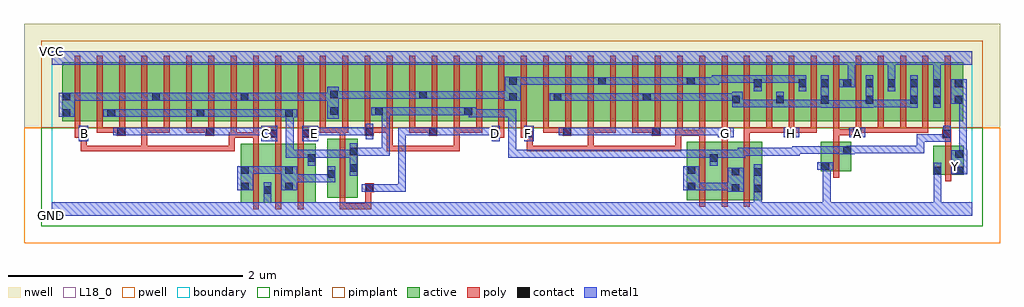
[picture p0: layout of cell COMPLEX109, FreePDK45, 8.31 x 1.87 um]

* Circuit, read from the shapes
.subckt COMPLEX109 A B C D E F G GND H VCC Y
M1 GND B n1 VSUBS nfet w=0.5u l=0.05u
M2 n1 C GND VSUBS nfet w=0.5u l=0.05u
M3 n2 E n1 VSUBS nfet w=0.5u l=0.05u
M4 n2 D n1 VSUBS nfet w=0.5u l=0.05u
M5 n2 F n3 VSUBS nfet w=0.5u l=0.05u
M6 n3 G n2 VSUBS nfet w=0.5u l=0.05u
M7 GND H n3 VSUBS nfet w=0.5u l=0.05u
M8 n2 A GND VSUBS nfet w=0.25u l=0.05u
M9 Y n2 GND VSUBS nfet w=0.25u l=0.05u
M10 n4 B n5 n6 pfet w=0.5u l=0.05u
M11 n2 C n4 n6 pfet w=0.5u l=0.05u
M12 n7 C n2 n6 pfet w=0.5u l=0.05u
M13 n5 B n7 n6 pfet w=0.5u l=0.05u
M14 n8 B n5 n6 pfet w=0.5u l=0.05u
M15 n2 C n8 n6 pfet w=0.5u l=0.05u
M16 n9 C n2 n6 pfet w=0.5u l=0.05u
M17 n5 B n9 n6 pfet w=0.5u l=0.05u
M18 n10 B n5 n6 pfet w=0.5u l=0.05u
M19 n2 C n10 n6 pfet w=0.5u l=0.05u
M20 n11 E n2 n6 pfet w=0.5u l=0.05u
M21 n5 D n11 n6 pfet w=0.5u l=0.05u
M22 n12 D n5 n6 pfet w=0.5u l=0.05u
M23 n2 E n12 n6 pfet w=0.5u l=0.05u
M24 n13 E n2 n6 pfet w=0.5u l=0.05u
M25 n5 D n13 n6 pfet w=0.5u l=0.05u
M26 n14 D n5 n6 pfet w=0.5u l=0.05u
M27 n2 E n14 n6 pfet w=0.5u l=0.05u
M28 n15 E n2 n6 pfet w=0.5u l=0.05u
M29 n5 D n15 n6 pfet w=0.5u l=0.05u
M30 n16 F n5 n6 pfet w=0.5u l=0.05u
M31 n17 G n16 n6 pfet w=0.5u l=0.05u
M32 n18 G n17 n6 pfet w=0.5u l=0.05u
M33 n5 F n18 n6 pfet w=0.5u l=0.05u
M34 n19 F n5 n6 pfet w=0.5u l=0.05u
M35 n17 G n19 n6 pfet w=0.5u l=0.05u
M36 n20 G n17 n6 pfet w=0.5u l=0.05u
M37 n5 F n20 n6 pfet w=0.5u l=0.05u
M38 n21 F n5 n6 pfet w=0.5u l=0.05u
M39 n17 G n21 n6 pfet w=0.5u l=0.05u
M40 n5 H n17 n6 pfet w=0.5u l=0.05u m=4
M41 VCC A n17 n6 pfet w=0.5u l=0.05u m=5
M42 Y n2 VCC n6 pfet w=0.5u l=0.05u
.ends

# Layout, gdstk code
import gdstk
lib = gdstk.Library(unit=1e-6, precision=1e-09)
def R(c, l, rs):  # rectangles x0, y0, x1, y1
    for r in rs: c.add(gdstk.rectangle(r[:2], r[2:], *l))
def A(c, l, x, y, w, h, nx, ny, dx, dy):  # array of equal rectangles
    R(c, l, [(x+i*dx, y+j*dy, x+i*dx+w, y+j*dy+h) for i in range(nx) for j in range(ny)])
active = (1, 0)
pwell = (2, 0)
nwell = (3, 0)
nimplant = (4, 0)
pimplant = (5, 0)
poly = (9, 0)
contact = (10, 0)
metal1 = (11, 0)
L18_0 = (18, 0)
boundary = (235, 0)

complex109 = lib.new_cell('COMPLEX109')
A(complex109, active, 0.09, 0.805, 0.225, 0.5, 4, 1, 0.38, 0)
A(complex109, active, 0.315, 0.805, 0.23, 0.5, 3, 1, 0.38, 0)
A(complex109, active, 3.355, 0.805, 0.23, 0.5, 5, 1, 0.38, 0)
A(complex109, active, 3.51, 0.805, 0.075, 0.265, 4, 1, 0.76, 0)
A(complex109, active, 3.51, 0.805, 0.225, 0.5, 5, 1, 0.38, 0)
A(complex109, active, 5.975, 0.805, 0.265, 0.5, 3, 1, 0.19, 0)
A(complex109, active, 6.545, 0.805, 0.075, 0.395, 4, 1, 0.38, 0)
R(complex109, active, [(1.61,0.112,1.875,0.612), (1.8,0.112,2.06,0.612), (1.985,0.112,2.25,0.612), (5.41,0.13,5.675,0.63), (5.6,0.13,5.862,0.63), (5.787,0.13,6.05,0.63), (5.975,0.13,6.05,0.63), (2.347,0.155,2.607,0.655), (1.8,0.157,1.875,0.592), (1.61,0.195,1.685,0.612), (1.985,0.195,2.06,0.592), (2.175,0.195,2.25,0.612), (2.347,0.195,2.422,0.655), (2.532,0.195,2.607,0.655), (5.41,0.195,5.485,0.63), (5.6,0.195,5.675,0.592), (5.787,0.195,5.862,0.592), (7.505,0.347,7.58,0.597), (7.505,0.347,7.765,0.597), (7.69,0.347,7.765,0.597), (6.55,0.38,6.625,0.63), (6.55,0.38,6.81,0.63), (6.735,0.38,6.81,0.63), (0.09,0.805,0.195,1.2), (0.47,0.805,0.545,1.07), (0.85,0.805,0.925,1.2), (1.455,0.805,1.68,1.305), (1.605,0.805,1.835,1.305), (1.835,0.805,2.06,1.305), (1.985,0.805,2.06,1.07), (1.985,0.805,2.215,1.305), (2.215,0.805,2.442,1.305), (2.367,0.805,2.442,1.2), (2.367,0.805,2.595,1.305), (2.595,0.805,2.825,1.305), (2.75,0.805,2.975,1.305), (2.975,0.805,3.2,1.305), (3.125,0.805,3.2,1.2), (3.125,0.805,3.355,1.305), (3.89,0.805,3.965,1.2), (4.65,0.805,4.725,1.2), (5.255,0.805,5.48,1.305), (5.405,0.805,5.48,1.2), (5.405,0.805,5.635,1.305), (5.635,0.805,5.865,1.305), (5.79,0.805,6.05,1.305), (5.975,0.805,6.05,1.2), (6.165,0.805,6.24,1.07), (6.355,0.805,6.43,1.2), (6.545,0.805,6.812,1.305), (6.737,0.805,6.812,1.305), (6.737,0.805,7,1.305), (6.925,0.805,7.19,1.305), (7.115,0.805,7.19,1.305), (7.115,0.805,7.38,1.305), (7.305,0.805,7.575,1.305), (7.5,0.805,7.575,1.305), (7.5,0.805,7.76,1.305), (1.23,0.807,1.305,1.07), (1.605,0.807,1.68,1.2), (2.75,0.807,2.825,1.07)])
R(complex109, pwell, [(-0.235,-0.235,8.075,0.75)])
R(complex109, nwell, [(-0.235,0.75,8.075,1.635)])
R(complex109, nimplant, [(-0.09,-0.09,7.93,0.75)])
R(complex109, pimplant, [(-0.09,0.75,7.93,1.49)])
A(complex109, poly, 1.715, 0.057, 0.05, 0.61, 3, 1, 0.19, 0)
A(complex109, poly, 5.515, 0.075, 0.05, 0.61, 3, 1, 0.19, 0)
A(complex109, poly, 1.715, 0.617, 0.05, 0.095, 3, 1, 0.19, 0)
A(complex109, poly, 5.702, 0.68, 0.075, 0.075, 3, 1, 0.56, 0)
A(complex109, poly, 0.385, 0.705, 0.05, 0.095, 6, 1, 0.19, 0)
A(complex109, poly, 0.765, 0.705, 0.05, 0.05, 3, 1, 0.19, 0)
A(complex109, poly, 2.285, 0.705, 0.05, 0.095, 8, 1, 0.19, 0)
A(complex109, poly, 4.185, 0.705, 0.05, 0.095, 6, 1, 0.19, 0)
A(complex109, poly, 5.705, 0.705, 0.05, 0.095, 5, 1, 0.19, 0)
A(complex109, poly, 6.845, 0.705, 0.05, 0.095, 4, 1, 0.19, 0)
A(complex109, poly, 0.195, 0.75, 0.05, 0.61, 40, 1, 0.19, 0)
R(complex109, poly, [(2.452,0.055,2.502,0.15), (2.452,0.055,2.502,0.105), (2.452,0.055,2.502,0.105), (2.452,0.055,2.502,0.105), (2.452,0.055,2.72,0.105), (2.67,0.055,2.72,0.105), (2.67,0.055,2.72,0.105), (2.67,0.055,2.72,0.105), (2.67,0.055,2.72,0.25), (2.452,0.1,2.502,0.71), (2.67,0.2,2.745,0.275), (7.61,0.292,7.66,0.652), (6.655,0.325,6.705,0.685), (0.25,0.547,0.3,0.597), (0.25,0.547,0.3,0.597), (0.25,0.547,0.3,0.597), (0.25,0.547,0.3,0.597), (0.25,0.547,0.3,0.597), (0.25,0.547,0.3,0.712), (0.25,0.547,0.472,0.597), (0.422,0.547,0.472,0.597), (0.422,0.547,0.472,0.597), (0.422,0.547,0.472,0.597), (0.422,0.547,0.682,0.597), (0.632,0.547,0.682,0.597), (0.632,0.547,0.682,0.597), (0.632,0.547,0.682,0.597), (0.632,0.547,0.815,0.597), (0.765,0.547,0.815,0.597), (0.765,0.547,0.815,0.597), (0.765,0.547,0.815,0.597), (0.765,0.547,0.815,0.755), (0.765,0.547,1.062,0.597), (1.012,0.547,1.062,0.597), (1.012,0.547,1.062,0.597), (1.012,0.547,1.062,0.597), (1.012,0.547,1.195,0.597), (1.145,0.547,1.195,0.597), (1.145,0.547,1.195,0.597), (1.145,0.547,1.195,0.597), (1.145,0.547,1.427,0.597), (1.377,0.547,1.427,0.597), (1.377,0.547,1.427,0.597), (1.377,0.547,1.427,0.597), (1.377,0.547,1.56,0.597), (1.51,0.547,1.56,0.597), (1.51,0.547,1.56,0.712), (2.855,0.547,2.905,0.597), (2.855,0.547,2.905,0.597), (2.855,0.547,2.905,0.597), (2.855,0.547,2.905,0.597), (2.855,0.547,2.91,0.597), (2.855,0.547,2.905,0.755), (2.86,0.547,3.095,0.597), (3.045,0.547,3.095,0.597), (3.045,0.547,3.202,0.597), (3.152,0.547,3.202,0.597), (3.152,0.547,3.31,0.597), (3.26,0.547,3.31,0.597), (3.26,0.547,3.475,0.597), (3.425,0.547,3.475,0.597), (3.425,0.547,3.475,0.597), (3.425,0.547,3.475,0.597), (3.425,0.547,3.475,0.597), (3.425,0.547,3.475,0.597), (3.425,0.547,3.475,0.755), (4.045,0.547,4.095,0.597), (4.045,0.547,4.095,0.597), (4.045,0.547,4.095,0.597), (4.045,0.547,4.23,0.597), (4.045,0.547,4.095,0.712), (4.18,0.547,4.23,0.597), (4.18,0.547,4.23,0.597), (4.18,0.547,4.23,0.597), (4.18,0.547,4.43,0.597), (4.38,0.547,4.43,0.597), (4.38,0.547,4.43,0.597), (4.38,0.547,4.465,0.597), (4.415,0.547,4.615,0.597), (4.565,0.547,4.615,0.597), (4.565,0.547,4.615,0.597), (4.565,0.547,4.615,0.597), (4.565,0.547,4.615,0.597), (4.565,0.547,4.62,0.597), (4.565,0.547,4.615,0.755), (4.57,0.547,4.777,0.597), (4.727,0.547,4.777,0.597), (4.727,0.547,4.777,0.597), (4.727,0.547,4.777,0.597), (4.727,0.547,5.015,0.597), (4.965,0.547,5.015,0.597), (4.965,0.547,5.015,0.597), (4.965,0.547,5.015,0.597), (4.965,0.547,5.147,0.597), (5.097,0.547,5.147,0.597), (5.097,0.547,5.36,0.597), (5.31,0.547,5.36,0.597), (5.31,0.547,5.36,0.597), (5.31,0.547,5.36,0.597), (5.31,0.547,5.36,0.597), (5.31,0.547,5.36,0.597), (5.31,0.547,5.36,0.73), (7.61,0.602,7.66,0.71), (5.515,0.635,5.565,0.73), (5.705,0.635,5.755,0.73), (5.895,0.635,5.945,0.755), (6.655,0.635,6.705,0.735), (2.452,0.66,2.502,0.755), (7.585,0.66,7.66,0.735), (0.195,0.662,0.3,0.737), (1.51,0.662,1.56,0.712), (1.51,0.662,1.56,0.712), (1.51,0.662,1.575,0.712), (1.525,0.662,1.575,0.712), (1.525,0.662,1.575,0.8), (1.525,0.662,1.585,0.712), (1.535,0.662,1.765,0.712), (1.715,0.662,1.765,0.712), (1.715,0.662,1.765,0.8), (1.85,0.662,1.955,0.737), (2.095,0.662,2.202,0.737), (3.747,0.662,3.855,0.737), (3.995,0.662,4.095,0.737), (4.045,0.662,4.095,0.712), (4.045,0.662,4.095,0.712), (0.555,0.68,0.63,0.755), (1.31,0.68,1.385,0.755), (2.665,0.68,2.745,0.755), (3.21,0.68,3.285,0.755), (4.35,0.68,4.425,0.755), (5.11,0.68,5.185,0.755), (5.31,0.68,5.375,0.73), (5.325,0.68,5.565,0.73), (5.325,0.68,5.375,0.8), (5.515,0.68,5.565,0.73), (5.515,0.68,5.565,0.73), (5.515,0.68,5.565,0.73), (5.515,0.68,5.565,0.8), (6.655,0.685,6.705,0.8), (6.655,0.685,6.705,0.735), (6.655,0.685,6.705,0.735), (6.655,0.685,6.705,0.735), (6.655,0.685,6.872,0.735), (7.605,0.685,7.655,0.8), (0.195,0.687,0.245,0.8), (1.905,0.687,1.955,0.8), (2.095,0.687,2.145,0.8), (3.805,0.687,3.855,0.8), (3.995,0.687,4.045,0.8), (0.385,0.705,0.435,0.755), (0.385,0.705,0.435,0.755), (0.385,0.705,0.435,0.755), (0.385,0.705,0.605,0.755), (0.765,0.705,0.815,0.755), (0.765,0.705,0.815,0.755), (0.765,0.705,0.815,0.755), (0.765,0.705,0.815,0.755), (0.765,0.705,1.005,0.755), (1.145,0.705,1.195,0.755), (1.145,0.705,1.195,0.755), (1.145,0.705,1.36,0.755), (2.285,0.705,2.335,0.755), (2.285,0.705,2.335,0.755), (2.285,0.705,2.335,0.755), (2.285,0.705,2.502,0.755), (2.452,0.705,2.525,0.755), (2.695,0.705,2.745,0.755), (2.695,0.705,2.745,0.755), (2.695,0.705,2.905,0.755), (2.855,0.705,2.905,0.755), (3.045,0.705,3.095,0.755), (3.045,0.705,3.155,0.755), (3.105,0.705,3.155,0.755), (3.105,0.705,3.26,0.755), (3.425,0.705,3.475,0.755), (3.425,0.705,3.665,0.755), (3.615,0.705,3.665,0.755), (3.615,0.705,3.665,0.755), (3.615,0.705,3.665,0.755), (4.185,0.705,4.26,0.755), (4.21,0.705,4.26,0.755), (4.21,0.705,4.26,0.755), (4.21,0.705,4.4,0.755), (4.565,0.705,4.645,0.755), (4.595,0.705,4.645,0.755), (4.595,0.705,4.645,0.755), (4.595,0.705,4.805,0.755), (4.755,0.705,4.805,0.755), (4.945,0.705,4.995,0.755), (4.945,0.705,5.16,0.755), (5.11,0.705,5.16,0.755), (5.11,0.705,5.16,0.755), (5.895,0.705,5.945,0.755), (5.895,0.705,6.135,0.755), (6.085,0.705,6.135,0.755), (6.085,0.705,6.135,0.755), (6.085,0.705,6.135,0.755), (6.085,0.705,6.312,0.755), (6.262,0.705,6.312,0.755), (6.262,0.705,6.312,0.755), (6.287,0.705,6.515,0.755), (6.465,0.705,6.515,0.755), (6.465,0.705,6.515,0.755), (6.465,0.705,6.515,0.755), (6.847,0.705,7.082,0.755), (7.032,0.705,7.082,0.755), (7.032,0.705,7.082,0.755), (7.032,0.705,7.085,0.755), (7.035,0.705,7.275,0.755), (7.225,0.705,7.275,0.755), (7.225,0.705,7.275,0.755), (7.225,0.705,7.275,0.755), (7.225,0.705,7.465,0.755), (7.415,0.705,7.465,0.755), (7.415,0.705,7.465,0.755), (7.415,0.705,7.465,0.755)])
A(complex109, contact, 5.707, 0.685, 0.065, 0.065, 3, 1, 0.56, 0)
A(complex109, contact, 6.55, 0.955, 0.065, 0.065, 3, 1, 0.38, 0)
A(complex109, contact, 6.93, 1.095, 0.065, 0.065, 3, 1, 0.19, 0)
R(complex109, contact, [(1.805,0.185,1.87,0.25), (5.98,0.2,6.045,0.265), (2.675,0.205,2.74,0.27), (5.792,0.205,5.857,0.27), (1.615,0.217,1.68,0.282), (1.99,0.217,2.055,0.282), (5.415,0.217,5.48,0.282), (2.352,0.322,2.417,0.387), (5.98,0.34,6.045,0.405), (5.792,0.345,5.857,0.41), (7.51,0.352,7.575,0.417), (7.695,0.352,7.76,0.417), (1.615,0.357,1.68,0.422), (1.99,0.357,2.055,0.422), (5.415,0.357,5.48,0.422), (2.537,0.375,2.602,0.44), (6.555,0.39,6.62,0.455), (2.18,0.46,2.245,0.525), (5.605,0.46,5.67,0.525), (7.695,0.492,7.76,0.557), (2.537,0.515,2.602,0.58), (6.74,0.522,6.805,0.587), (7.59,0.665,7.655,0.73), (0.23,0.667,0.295,0.732), (1.855,0.667,1.92,0.732), (2.132,0.667,2.197,0.732), (3.752,0.667,3.817,0.732), (4.025,0.667,4.09,0.732), (0.56,0.685,0.625,0.75), (1.315,0.685,1.38,0.75), (2.675,0.685,2.74,0.75), (3.215,0.685,3.28,0.75), (4.355,0.685,4.42,0.75), (5.115,0.685,5.18,0.75), (0.095,0.842,0.16,0.907), (0.475,0.842,0.54,0.907), (1.235,0.842,1.3,0.907), (1.99,0.842,2.055,0.907), (2.755,0.857,2.82,0.922), (3.515,0.857,3.58,0.922), (2.372,0.86,2.437,0.925), (7.505,0.955,7.57,1.02), (7.69,0.955,7.755,1.02), (5.795,0.957,5.86,1.022), (6.17,0.957,6.235,1.022), (3.895,0.977,3.96,1.042), (4.275,0.977,4.34,1.042), (5.035,0.977,5.1,1.042), (0.855,0.98,0.92,1.045), (1.61,0.98,1.675,1.045), (0.095,0.982,0.16,1.047), (3.13,0.995,3.195,1.06), (2.372,1,2.437,1.065), (5.98,1.095,6.045,1.16), (6.36,1.095,6.425,1.16), (6.55,1.095,6.615,1.16), (6.742,1.095,6.807,1.16), (7.505,1.095,7.57,1.16), (7.69,1.095,7.755,1.16), (4.655,1.115,4.72,1.18), (5.41,1.115,5.475,1.18), (3.895,1.117,3.96,1.182)])
A(complex109, metal1, 5.672, 0.667, 0.135, 0.083, 3, 1, 0.56, 0)
A(complex109, metal1, 6.55, 0.92, 0.065, 0.275, 3, 1, 0.38, 0)
R(complex109, metal1, [(0,0,7.84,0.115), (1.805,0.05,1.87,0.115), (1.805,0.05,1.87,0.115), (1.805,0.05,1.87,0.215), (5.98,0.05,6.045,0.115), (5.98,0.05,6.045,0.115), (5.98,0.05,6.045,0.23), (6.567,0.05,6.632,0.422), (7.51,0.05,7.575,0.382), (1.805,0.15,1.87,0.285), (5.98,0.165,6.045,0.44), (2.64,0.205,2.775,0.27), (2.71,0.205,2.775,0.27), (2.71,0.205,2.775,0.27), (2.71,0.205,2.912,0.27), (2.847,0.205,2.912,0.27), (2.847,0.205,3.015,0.27), (2.95,0.205,3.015,0.27), (2.95,0.205,3.015,0.75), (5.757,0.205,5.892,0.41), (1.58,0.217,1.715,0.422), (1.955,0.217,2.09,0.422), (5.38,0.217,5.515,0.422), (5.45,0.217,5.565,0.282), (5.5,0.217,5.565,0.282), (5.5,0.217,5.685,0.282), (5.62,0.217,5.685,0.282), (5.62,0.217,5.747,0.282), (5.682,0.217,5.747,0.282), (5.682,0.217,5.822,0.282), (2.025,0.287,2.09,0.352), (2.025,0.287,2.09,0.352), (2.025,0.287,2.227,0.352), (2.162,0.287,2.227,0.352), (2.162,0.287,2.417,0.352), (2.352,0.287,2.417,0.352), (2.352,0.287,2.417,0.352), (2.352,0.287,2.417,0.422), (7.51,0.317,7.575,0.382), (7.51,0.317,7.575,0.382), (7.51,0.317,7.575,0.382), (7.51,0.317,7.575,0.382), (7.51,0.317,7.575,0.382), (7.51,0.317,7.575,0.382), (7.51,0.317,7.575,0.452), (2.537,0.34,2.602,0.615), (7.66,0.352,7.795,0.557), (1.65,0.357,1.715,0.422), (1.65,0.357,1.715,0.422), (1.65,0.357,1.882,0.422), (1.817,0.357,1.882,0.422), (1.817,0.357,1.882,0.422), (1.817,0.357,1.882,0.422), (1.817,0.357,2.02,0.422), (6.567,0.357,6.632,0.422), (6.567,0.357,6.632,0.422), (6.567,0.357,6.632,0.422), (6.567,0.357,6.632,0.422), (6.567,0.357,6.632,0.455), (6.52,0.39,6.655,0.455), (6.567,0.39,6.632,0.455), (2.18,0.425,2.245,0.56), (5.605,0.425,5.67,0.56), (7.727,0.492,7.792,0.747), (1.995,0.495,2.06,0.56), (1.995,0.495,2.06,0.56), (1.995,0.495,2.06,0.56), (1.995,0.495,2.06,0.905), (1.995,0.495,2.245,0.56), (2.18,0.495,2.245,0.56), (2.18,0.495,2.245,0.56), (2.18,0.495,2.42,0.56), (2.355,0.495,2.42,0.56), (2.355,0.495,2.42,0.56), (2.355,0.495,2.42,0.56), (2.355,0.495,2.557,0.56), (2.492,0.495,2.557,0.56), (2.492,0.495,2.602,0.56), (3.89,0.495,3.955,0.56), (3.89,0.495,3.955,0.56), (3.89,0.495,3.955,0.56), (3.89,0.495,3.955,0.56), (3.89,0.495,3.955,0.56), (3.89,0.495,4.167,0.56), (3.89,0.495,3.955,0.905), (4.102,0.495,4.167,0.56), (4.102,0.495,4.167,0.56), (4.102,0.495,4.167,0.56), (4.102,0.495,4.375,0.56), (4.31,0.495,4.375,0.56), (4.31,0.495,4.375,0.56), (4.31,0.495,4.375,0.56), (4.31,0.495,4.512,0.56), (4.447,0.495,4.512,0.56), (4.447,0.495,4.652,0.56), (4.587,0.495,4.652,0.56), (4.587,0.495,4.79,0.56), (4.725,0.495,4.79,0.56), (4.725,0.495,4.79,0.56), (4.725,0.495,4.79,0.56), (4.725,0.495,4.927,0.56), (4.862,0.495,4.927,0.56), (4.862,0.495,4.927,0.56), (4.862,0.495,4.927,0.56), (4.862,0.495,5.145,0.56), (5.08,0.495,5.145,0.56), (5.08,0.495,5.145,0.56), (5.08,0.495,5.145,0.56), (5.08,0.495,5.282,0.56), (5.217,0.495,5.282,0.56), (5.217,0.495,5.425,0.56), (5.36,0.495,5.425,0.56), (5.36,0.495,5.425,0.56), (5.36,0.495,5.425,0.56), (5.36,0.495,5.565,0.56), (5.5,0.495,5.565,0.56), (5.5,0.495,5.67,0.56), (5.605,0.495,5.702,0.56), (5.637,0.495,5.702,0.56), (5.637,0.495,5.907,0.56), (5.842,0.495,5.907,0.577), (2.537,0.512,2.705,0.577), (2.64,0.512,2.705,0.577), (2.64,0.512,2.877,0.577), (2.812,0.512,2.877,0.577), (2.812,0.512,2.877,0.577), (2.812,0.512,2.877,0.577), (2.812,0.512,2.877,0.922), (5.842,0.512,5.907,0.577), (5.842,0.512,5.907,0.577), (5.842,0.512,6.045,0.577), (5.98,0.512,6.045,0.577), (5.98,0.512,6.045,0.577), (5.98,0.512,6.045,0.577), (5.98,0.512,6.235,0.577), (6.17,0.512,6.235,0.577), (6.17,0.512,6.235,0.577), (6.17,0.512,6.235,0.577), (6.17,0.512,6.372,0.577), (6.307,0.512,6.372,0.592), (6.705,0.522,6.84,0.592), (6.307,0.527,6.562,0.592), (6.497,0.527,6.562,0.592), (6.497,0.527,6.562,0.592), (6.497,0.527,6.562,0.592), (6.497,0.527,6.7,0.592), (6.635,0.527,6.7,0.592), (6.635,0.527,6.77,0.592), (6.772,0.527,6.837,0.592), (6.772,0.527,6.84,0.595), (6.775,0.53,6.995,0.595), (6.93,0.53,6.995,0.595), (6.93,0.53,6.995,0.595), (6.93,0.53,6.995,0.595), (6.93,0.53,7.132,0.595), (7.067,0.53,7.132,0.595), (7.067,0.53,7.27,0.595), (7.205,0.53,7.27,0.595), (7.205,0.53,7.27,0.595), (7.205,0.53,7.27,0.595), (7.205,0.53,7.432,0.595), (7.367,0.53,7.432,0.595), (7.367,0.53,7.432,0.595), (7.367,0.53,7.432,0.595), (7.367,0.53,7.432,0.695), (7.367,0.63,7.432,0.695), (7.367,0.63,7.655,0.695), (7.59,0.63,7.655,0.765), (0.23,0.632,0.312,0.767), (1.787,0.632,1.92,0.767), (2.132,0.632,2.272,0.767), (3.747,0.632,3.817,0.767), (4.025,0.632,4.105,0.767), (2.675,0.65,2.74,0.785), (7.727,0.682,7.792,1.02), (7.727,0.682,7.792,0.747), (7.727,0.682,7.792,0.747), (7.727,0.682,7.792,0.747), (0.525,0.685,0.66,0.75), (0.595,0.685,0.715,0.75), (0.65,0.685,0.715,0.75), (0.65,0.685,0.852,0.75), (0.787,0.685,0.852,0.75), (0.787,0.685,0.852,0.75), (0.787,0.685,0.852,0.75), (0.787,0.685,0.99,0.75), (0.925,0.685,0.99,0.75), (0.925,0.685,1.127,0.75), (1.062,0.685,1.127,0.75), (1.062,0.685,1.127,0.75), (1.062,0.685,1.127,0.75), (1.062,0.685,1.345,0.75), (1.28,0.685,1.345,0.75), (1.28,0.685,1.345,0.75), (1.28,0.685,1.415,0.75), (1.35,0.685,1.482,0.75), (1.417,0.685,1.482,0.75), (1.417,0.685,1.552,0.75), (1.487,0.685,1.552,0.75), (1.487,0.685,1.715,0.75), (1.65,0.685,1.715,0.75), (1.65,0.685,1.715,0.75), (1.65,0.685,1.715,0.75), (1.65,0.685,1.852,0.75), (1.787,0.685,1.852,0.75), (1.787,0.685,1.852,0.75), (2.207,0.685,2.272,0.75), (2.207,0.685,2.272,0.75), (2.207,0.685,2.41,0.75), (2.345,0.685,2.41,0.75), (2.345,0.685,2.41,0.75), (2.345,0.685,2.41,0.752), (2.95,0.685,3.015,0.75), (2.95,0.685,3.08,0.75), (3.015,0.685,3.08,0.75), (3.015,0.685,3.24,0.75), (3.175,0.685,3.24,0.75), (3.175,0.685,3.24,0.75), (3.175,0.685,3.24,0.75), (3.175,0.685,3.24,0.75), (3.175,0.685,3.24,0.75), (3.175,0.685,3.24,0.75), (3.175,0.685,3.315,0.75), (3.25,0.685,3.407,0.75), (3.342,0.685,3.407,0.75), (3.342,0.685,3.477,0.75), (3.412,0.685,3.477,0.75), (3.412,0.685,3.615,0.75), (3.55,0.685,3.615,0.75), (3.55,0.685,3.615,0.75), (3.55,0.685,3.615,0.75), (3.55,0.685,3.787,0.75), (3.722,0.685,3.787,0.75), (3.722,0.685,3.812,0.75), (4.32,0.685,4.455,0.75), (4.39,0.685,4.515,0.75), (4.45,0.685,4.515,0.75), (4.45,0.685,4.652,0.75), (4.587,0.685,4.652,0.75), (4.587,0.685,4.652,0.75), (4.587,0.685,4.652,0.75), (4.587,0.685,4.79,0.75), (4.725,0.685,4.79,0.75), (4.725,0.685,4.927,0.75), (4.862,0.685,4.927,0.75), (4.862,0.685,4.927,0.75), (4.862,0.685,4.927,0.75), (4.862,0.685,5.145,0.75), (5.08,0.685,5.145,0.75), (5.08,0.685,5.145,0.75), (5.08,0.685,5.215,0.75), (5.15,0.685,5.287,0.75), (5.222,0.685,5.287,0.75), (5.222,0.685,5.427,0.75), (5.362,0.685,5.427,0.75), (5.362,0.685,5.427,0.75), (5.362,0.685,5.427,0.75), (5.362,0.685,5.565,0.75), (5.5,0.685,5.565,0.75), (5.5,0.685,5.652,0.75), (5.587,0.685,5.652,0.75), (5.587,0.685,5.737,0.75), (2.345,0.687,2.557,0.752), (2.492,0.687,2.557,0.752), (2.492,0.687,2.637,0.752), (2.572,0.687,2.637,0.752), (2.572,0.687,2.74,0.752), (2.345,0.825,2.447,1.1), (1.955,0.84,2.09,0.907), (1.995,0.84,2.06,0.905), (1.995,0.84,2.06,0.905), (3.55,0.84,3.752,0.905), (3.55,0.84,3.615,0.922), (3.687,0.84,3.752,0.905), (3.687,0.84,3.752,0.905), (3.687,0.84,3.752,0.905), (3.687,0.84,3.955,0.905), (3.89,0.84,3.955,0.905), (0.06,0.842,0.195,1.047), (0.44,0.842,0.575,0.907), (0.51,0.842,0.575,0.907), (0.51,0.842,0.575,0.907), (0.51,0.842,0.712,0.907), (0.647,0.842,0.712,0.907), (0.647,0.842,0.852,0.907), (0.787,0.842,0.852,0.907), (0.787,0.842,0.852,0.907), (0.787,0.842,0.852,0.907), (0.787,0.842,0.99,0.907), (0.925,0.842,0.99,0.907), (0.925,0.842,1.127,0.907), (1.062,0.842,1.127,0.907), (1.062,0.842,1.127,0.907), (1.062,0.842,1.127,0.907), (1.062,0.842,1.265,0.907), (1.2,0.842,1.335,0.907), (1.27,0.842,1.335,0.907), (1.27,0.842,1.335,0.907), (1.27,0.842,1.502,0.907), (1.437,0.842,1.502,0.907), (1.437,0.842,1.572,0.907), (1.507,0.842,1.572,0.907), (1.507,0.842,1.715,0.907), (1.65,0.842,1.715,0.907), (1.65,0.842,1.715,0.907), (1.65,0.842,1.715,0.907), (1.65,0.842,1.852,0.907), (1.787,0.842,1.852,0.907), (1.787,0.842,1.852,0.907), (1.787,0.842,1.852,0.907), (1.787,0.842,2.02,0.907), (2.72,0.857,2.877,0.922), (2.812,0.857,2.912,0.922), (2.847,0.857,2.912,0.922), (2.847,0.857,3.015,0.922), (2.95,0.857,3.015,0.922), (2.95,0.857,3.08,0.922), (3.015,0.857,3.08,0.922), (3.015,0.857,3.24,0.922), (3.175,0.857,3.24,0.922), (3.175,0.857,3.24,0.922), (3.175,0.857,3.24,0.922), (3.175,0.857,3.377,0.922), (3.312,0.857,3.377,0.922), (3.312,0.857,3.477,0.922), (3.412,0.857,3.477,0.922), (3.412,0.857,3.545,0.922), (3.48,0.857,3.615,0.922), (3.55,0.857,3.615,0.922), (6.55,0.92,6.7,0.985), (6.635,0.92,6.7,0.985), (6.635,0.92,6.857,0.985), (6.792,0.92,6.857,0.985), (6.792,0.92,6.857,0.985), (6.792,0.92,6.857,0.985), (6.792,0.92,6.995,0.985), (7.505,0.92,7.57,1.195), (5.795,0.922,5.885,1.057), (5.82,0.922,5.885,1.02), (5.82,0.922,6.045,0.987), (5.98,0.922,6.045,0.987), (5.98,0.922,6.045,0.987), (5.98,0.922,6.045,0.987), (5.98,0.922,6.235,0.987), (6.17,0.922,6.235,0.987), (6.17,0.922,6.235,0.987), (6.17,0.922,6.235,1.057), (6.17,0.922,6.425,0.987), (6.36,0.922,6.425,0.987), (6.36,0.922,6.562,0.987), (6.497,0.922,6.562,0.987), (6.497,0.922,6.615,0.987), (6.93,0.922,6.995,0.987), (6.93,0.922,6.995,0.987), (6.93,0.922,7.132,0.987), (7.067,0.922,7.132,0.987), (7.067,0.922,7.132,0.987), (7.067,0.922,7.132,0.987), (7.067,0.922,7.375,0.987), (5.82,0.955,5.885,1.02), (7.655,0.955,7.792,1.16), (3.86,0.977,3.995,1.182), (4.24,0.977,4.375,1.042), (4.31,0.977,4.515,1.042), (4.45,0.977,4.515,1.042), (4.45,0.977,4.515,1.042), (4.45,0.977,4.515,1.042), (4.45,0.977,4.652,1.042), (4.587,0.977,4.652,1.042), (4.587,0.977,4.79,1.042), (4.725,0.977,4.79,1.042), (4.725,0.977,4.79,1.042), (4.725,0.977,4.79,1.042), (4.725,0.977,4.927,1.042), (4.862,0.977,4.927,1.042), (4.862,0.977,4.927,1.042), (4.862,0.977,4.927,1.042), (4.862,0.977,5.065,1.042), (5,0.977,5.135,1.042), (5.07,0.977,5.287,1.042), (5.222,0.977,5.287,1.042), (5.222,0.977,5.287,1.042), (5.222,0.977,5.287,1.042), (5.222,0.977,5.427,1.042), (5.362,0.977,5.427,1.042), (5.362,0.977,5.427,1.042), (5.362,0.977,5.427,1.042), (5.362,0.977,5.565,1.042), (5.5,0.977,5.565,1.042), (5.5,0.977,5.652,1.042), (5.587,0.977,5.652,1.042), (5.587,0.977,5.747,1.042), (5.682,0.977,5.747,1.042), (5.682,0.977,5.86,1.042), (0.13,0.98,0.195,1.045), (0.13,0.98,0.195,1.045), (0.13,0.98,0.332,1.045), (0.267,0.98,0.332,1.045), (0.267,0.98,0.332,1.045), (0.267,0.98,0.332,1.045), (0.267,0.98,0.47,1.045), (0.405,0.98,0.47,1.045), (0.405,0.98,0.715,1.045), (0.65,0.98,0.715,1.045), (0.65,0.98,0.715,1.045), (0.65,0.98,0.715,1.045), (0.65,0.98,0.852,1.045), (0.787,0.98,0.852,1.045), (0.787,0.98,0.885,1.045), (0.82,0.98,0.955,1.045), (0.89,0.98,0.99,1.045), (0.925,0.98,0.99,1.045), (0.925,0.98,1.127,1.045), (1.062,0.98,1.127,1.045), (1.062,0.98,1.127,1.045), (1.062,0.98,1.127,1.045), (1.062,0.98,1.265,1.045), (1.2,0.98,1.265,1.045), (1.2,0.98,1.265,1.045), (1.2,0.98,1.265,1.045), (1.2,0.98,1.482,1.045), (1.417,0.98,1.482,1.045), (1.417,0.98,1.552,1.045), (1.487,0.98,1.552,1.045), (1.487,0.98,1.64,1.045), (1.575,0.98,1.71,1.045), (1.645,0.98,1.71,1.045), (1.645,0.98,1.71,1.045), (1.645,0.98,1.852,1.045), (1.787,0.98,1.852,1.045), (1.787,0.98,1.852,1.045), (1.787,0.98,1.852,1.045), (1.787,0.98,2.06,1.045), (1.995,0.98,2.06,1.045), (1.995,0.98,2.06,1.045), (1.995,0.98,2.06,1.045), (1.995,0.98,2.272,1.045), (2.207,0.98,2.272,1.045), (2.207,0.98,2.41,1.045), (2.345,0.98,2.41,1.045), (2.345,0.98,2.41,1.045), (2.382,0.995,2.567,1.06), (2.502,0.995,2.567,1.06), (2.502,0.995,2.617,1.06), (2.552,0.995,2.617,1.06), (2.552,0.995,2.775,1.06), (2.71,0.995,2.775,1.06), (2.71,0.995,2.775,1.06), (2.71,0.995,2.775,1.06), (2.71,0.995,2.912,1.06), (2.847,0.995,2.912,1.06), (2.847,0.995,3.015,1.06), (2.95,0.995,3.015,1.06), (2.95,0.995,3.05,1.06), (2.985,0.995,3.05,1.06), (2.985,0.995,3.16,1.06), (3.095,0.995,3.23,1.06), (3.165,0.995,3.23,1.06), (3.165,0.995,3.23,1.06), (3.165,0.995,3.377,1.06), (3.312,0.995,3.377,1.06), (3.312,0.995,3.477,1.06), (3.412,0.995,3.477,1.06), (3.412,0.995,3.615,1.06), (3.55,0.995,3.615,1.06), (3.55,0.995,3.615,1.06), (3.55,0.995,3.615,1.06), (3.55,0.995,3.752,1.06), (3.687,0.995,3.752,1.06), (3.687,0.995,3.752,1.06), (3.687,0.995,3.752,1.06), (3.687,0.995,3.925,1.06), (5.98,1.06,6.045,1.195), (6.36,1.06,6.425,1.195), (7.12,1.06,7.185,1.195), (6.707,1.095,6.842,1.16), (6.777,1.095,6.842,1.35), (3.93,1.115,3.995,1.18), (3.93,1.115,3.995,1.18), (3.93,1.115,4.167,1.18), (4.102,1.115,4.167,1.18), (4.102,1.115,4.167,1.18), (4.102,1.115,4.167,1.18), (4.102,1.115,4.305,1.18), (4.24,1.115,4.305,1.18), (4.24,1.115,4.305,1.18), (4.24,1.115,4.305,1.18), (4.24,1.115,4.515,1.18), (4.45,1.115,4.515,1.18), (4.45,1.115,4.652,1.18), (4.587,1.115,4.652,1.18), (4.587,1.115,4.685,1.18), (4.62,1.115,4.755,1.18), (4.69,1.115,4.79,1.18), (4.725,1.115,4.79,1.18), (4.725,1.115,4.927,1.18), (4.862,1.115,4.927,1.18), (4.862,1.115,4.927,1.18), (4.862,1.115,4.927,1.18), (4.862,1.115,5.065,1.18), (5,1.115,5.065,1.18), (5,1.115,5.065,1.18), (5,1.115,5.065,1.18), (5,1.115,5.287,1.18), (5.222,1.115,5.287,1.18), (5.222,1.115,5.427,1.18), (5.362,1.115,5.427,1.18), (5.362,1.115,5.44,1.18), (5.375,1.115,5.51,1.18), (5.445,1.115,5.565,1.18), (5.5,1.115,5.565,1.18), (5.5,1.115,5.685,1.18), (5.62,1.115,5.685,1.195), (5.62,1.13,5.747,1.195), (5.682,1.13,5.747,1.195), (5.682,1.13,5.907,1.195), (5.842,1.13,5.907,1.195), (5.842,1.13,5.907,1.195), (5.842,1.13,5.907,1.195), (5.842,1.13,6.045,1.195), (5.98,1.13,6.045,1.195), (5.98,1.13,6.045,1.195), (5.98,1.13,6.182,1.195), (6.117,1.13,6.182,1.195), (6.117,1.13,6.425,1.195), (6.36,1.13,6.425,1.195), (6.36,1.13,6.425,1.195), (7.12,1.13,7.185,1.35), (7.505,1.13,7.57,1.35), (0,1.285,7.84,1.4)])
A(complex109, L18_0, 5.672, 0.667, 0.135, 0.083, 3, 1, 0.56, 0)
A(complex109, L18_0, 5.707, 0.667, 0.065, 0.065, 3, 1, 0.56, 0)
R(complex109, L18_0, [(0,0,7.84,0.115), (1.805,0.05,1.87,0.115), (1.805,0.05,1.87,0.115), (1.805,0.05,1.87,0.215), (5.98,0.05,6.045,0.115), (5.98,0.05,6.045,0.115), (5.98,0.05,6.045,0.23), (6.567,0.05,6.632,0.422), (7.51,0.05,7.575,0.382), (1.805,0.15,1.87,0.285), (5.98,0.165,6.045,0.44), (2.64,0.205,2.775,0.27), (2.71,0.205,2.775,0.27), (2.71,0.205,2.775,0.27), (2.71,0.205,2.912,0.27), (2.847,0.205,2.912,0.27), (2.847,0.205,3.015,0.27), (2.95,0.205,3.015,0.27), (2.95,0.205,3.015,0.75), (7.51,0.317,7.575,0.382), (7.51,0.317,7.575,0.382), (7.51,0.317,7.575,0.382), (7.51,0.317,7.575,0.382), (7.51,0.317,7.575,0.382), (7.51,0.317,7.575,0.382), (7.51,0.317,7.575,0.452), (7.66,0.352,7.795,0.557), (6.567,0.357,6.632,0.422), (6.567,0.357,6.632,0.422), (6.567,0.357,6.632,0.422), (6.567,0.357,6.632,0.422), (6.567,0.357,6.632,0.455), (7.667,0.387,7.732,0.452), (6.52,0.39,6.655,0.455), (6.567,0.39,6.632,0.455), (7.727,0.492,7.792,0.747), (0.23,0.632,0.312,0.767), (1.787,0.632,1.92,0.767), (2.132,0.632,2.272,0.767), (3.747,0.632,3.817,0.767), (4.025,0.632,4.105,0.767), (2.675,0.65,2.74,0.785), (0.247,0.667,0.312,0.732), (1.787,0.667,1.852,0.732), (2.207,0.667,2.272,0.732), (3.747,0.667,3.812,0.732), (4.027,0.667,4.092,0.732), (7.727,0.682,7.792,0.747), (7.727,0.682,7.792,0.747), (7.727,0.682,7.792,0.747), (7.727,0.682,7.792,1.02), (0.525,0.685,0.66,0.75), (0.595,0.685,0.715,0.75), (0.65,0.685,0.715,0.75), (0.65,0.685,0.852,0.75), (0.787,0.685,0.852,0.75), (0.787,0.685,0.852,0.75), (0.787,0.685,0.852,0.75), (0.787,0.685,0.99,0.75), (0.925,0.685,0.99,0.75), (0.925,0.685,1.127,0.75), (1.062,0.685,1.127,0.75), (1.062,0.685,1.127,0.75), (1.062,0.685,1.127,0.75), (1.062,0.685,1.345,0.75), (1.28,0.685,1.415,0.75), (1.28,0.685,1.345,0.75), (1.28,0.685,1.345,0.75), (1.35,0.685,1.482,0.75), (1.417,0.685,1.552,0.75), (1.417,0.685,1.482,0.75), (1.487,0.685,1.552,0.75), (1.487,0.685,1.715,0.75), (1.65,0.685,1.715,0.75), (1.65,0.685,1.715,0.75), (1.65,0.685,1.715,0.75), (1.65,0.685,1.852,0.75), (1.787,0.685,1.852,0.75), (1.787,0.685,1.852,0.75), (2.207,0.685,2.272,0.75), (2.207,0.685,2.272,0.75), (2.207,0.685,2.41,0.75), (2.345,0.685,2.41,0.75), (2.345,0.685,2.41,0.75), (2.345,0.685,2.41,0.752), (2.95,0.685,3.015,0.75), (2.95,0.685,3.08,0.75), (3.015,0.685,3.08,0.75), (3.015,0.685,3.24,0.75), (3.175,0.685,3.24,0.75), (3.175,0.685,3.24,0.75), (3.175,0.685,3.24,0.75), (3.175,0.685,3.24,0.75), (3.175,0.685,3.24,0.75), (3.175,0.685,3.24,0.75), (3.175,0.685,3.315,0.75), (3.25,0.685,3.407,0.75), (3.342,0.685,3.477,0.75), (3.342,0.685,3.407,0.75), (3.412,0.685,3.477,0.75), (3.412,0.685,3.615,0.75), (3.55,0.685,3.615,0.75), (3.55,0.685,3.615,0.75), (3.55,0.685,3.615,0.75), (3.55,0.685,3.787,0.75), (3.722,0.685,3.787,0.75), (3.722,0.685,3.812,0.75), (4.32,0.685,4.455,0.75), (4.39,0.685,4.515,0.75), (4.45,0.685,4.515,0.75), (4.45,0.685,4.652,0.75), (4.587,0.685,4.652,0.75), (4.587,0.685,4.652,0.75), (4.587,0.685,4.652,0.75), (4.587,0.685,4.79,0.75), (4.725,0.685,4.79,0.75), (4.725,0.685,4.927,0.75), (4.862,0.685,4.927,0.75), (4.862,0.685,4.927,0.75), (4.862,0.685,4.927,0.75), (4.862,0.685,5.145,0.75), (5.08,0.685,5.215,0.75), (5.08,0.685,5.145,0.75), (5.08,0.685,5.145,0.75), (5.15,0.685,5.287,0.75), (5.222,0.685,5.287,0.75), (5.222,0.685,5.427,0.75), (5.362,0.685,5.427,0.75), (5.362,0.685,5.427,0.75), (5.362,0.685,5.427,0.75), (5.362,0.685,5.565,0.75), (5.5,0.685,5.565,0.75), (5.5,0.685,5.652,0.75), (5.587,0.685,5.652,0.75), (5.587,0.685,5.737,0.75), (2.345,0.687,2.557,0.752), (2.492,0.687,2.557,0.752), (2.492,0.687,2.637,0.752), (2.572,0.687,2.637,0.752), (2.572,0.687,2.74,0.752), (7.505,0.92,7.57,1.195), (7.655,0.955,7.792,1.16), (7.12,1.06,7.185,1.195), (6.707,1.095,6.842,1.16), (6.777,1.095,6.842,1.35), (7.12,1.13,7.185,1.35), (7.505,1.13,7.57,1.35), (0,1.285,7.84,1.4)])
R(complex109, boundary, [(0,0,7.84,1.4)])
complex109.add(gdstk.Label('A', (6.86,0.7), layer=11, texttype=0))
complex109.add(gdstk.Label('B', (0.28,0.7), layer=11, texttype=0))
complex109.add(gdstk.Label('C', (1.82,0.7), layer=11, texttype=0))
complex109.add(gdstk.Label('D', (3.78,0.7), layer=11, texttype=0))
complex109.add(gdstk.Label('E', (2.24,0.7), layer=11, texttype=0))
complex109.add(gdstk.Label('F', (4.06,0.7), layer=11, texttype=0))
complex109.add(gdstk.Label('G', (5.74,0.7), layer=11, texttype=0))
complex109.add(gdstk.Label('H', (6.3,0.7), layer=11, texttype=0))
complex109.add(gdstk.Label('Y', (7.7,0.42), layer=11, texttype=0))
complex109.add(gdstk.Label('VCC', (0,1.4), layer=11, texttype=0))
complex109.add(gdstk.Label('GND', (0,0), layer=11, texttype=0))

lib.write_gds('COMPLEX109.gds')
